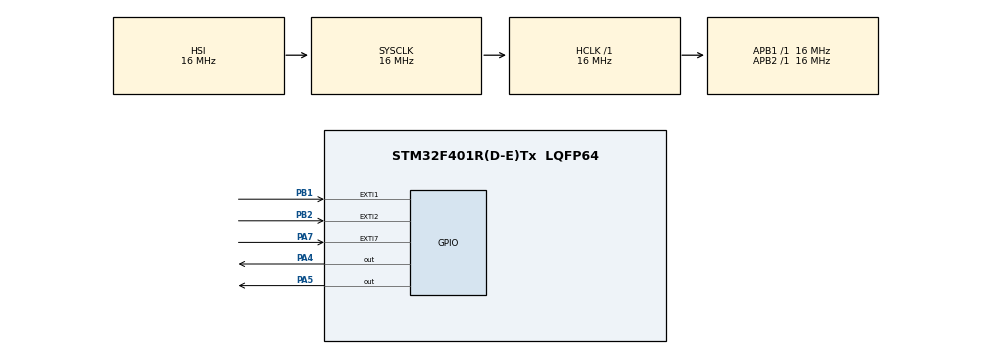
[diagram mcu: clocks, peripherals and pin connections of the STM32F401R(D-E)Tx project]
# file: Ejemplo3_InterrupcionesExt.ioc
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Mcu.Family=STM32F4
Mcu.Name=STM32F401R(D-E)Tx
Mcu.Package=LQFP64
NVIC.EXTI1_IRQn=true\:1\:0\:true\:false\:true\:true\:true\:true
NVIC.EXTI2_IRQn=true\:3\:0\:true\:false\:true\:true\:true\:true
NVIC.EXTI9_5_IRQn=true\:2\:0\:true\:false\:true\:true\:true\:true
NVIC.PriorityGroup=NVIC_PRIORITYGROUP_4
PA4.Signal=GPIO_Output
PA5.Signal=GPIO_Output
PA7.GPIO_ModeDefaultEXTI=GPIO_MODE_IT_FALLING
PA7.GPIO_PuPd=GPIO_PULLUP
PA7.Signal=GPXTI7
PB1.GPIO_ModeDefaultEXTI=GPIO_MODE_IT_FALLING
PB1.GPIO_PuPd=GPIO_PULLUP
PB1.Signal=GPXTI1
PB2.GPIO_ModeDefaultEXTI=GPIO_MODE_IT_FALLING
PB2.GPIO_PuPd=GPIO_PULLUP
PB2.Signal=GPXTI2
ProjectManager.HeapSize=0x200
ProjectManager.StackSize=0x400
ProjectManager.TargetToolchain=STM32CubeIDE
RCC.AHBFreq_Value=16000000
RCC.APB1Freq_Value=16000000
RCC.APB2Freq_Value=16000000
RCC.CortexFreq_Value=16000000
RCC.HSE_VALUE=25000000
RCC.HSI_VALUE=16000000
RCC.LSE_VALUE=32768
RCC.SYSCLKFreq_VALUE=16000000
RCC.VCOOutputFreq_Value=192000000
board=custom

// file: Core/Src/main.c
/* USER CODE BEGIN Header */
/**
  ******************************************************************************
  * @file           : main.c
  * @brief          : Main program body
  ******************************************************************************
  * @attention
  *
  * Copyright (c) 2022 STMicroelectronics.
  * All rights reserved.
  *
  * This software is licensed under terms that can be found in the LICENSE file
  * in the root directory of this software component.
  * If no LICENSE file comes with this software, it is provided AS-IS.
  *
  ******************************************************************************
  */
/* USER CODE END Header */
#include "main.h"

/* USER CODE BEGIN Includes */
#include <stdint.h>
#include <stdbool.h>
/* USER CODE END Includes */

void SystemClock_Config(void);
static void MX_GPIO_Init(void);

/* USER CODE BEGIN 0 */
bool a=false,b=false,c=false;
/* USER CODE END 0 */

int main(void)
{

  /* MCU Configuration--------------------------------------------------------*/

  /* Reset of all peripherals, Initializes the Flash interface and the Systick. */
  HAL_Init();

  /* Configure the system clock */
  SystemClock_Config();

  /* Initialize all configured peripherals */
  MX_GPIO_Init();
  /* USER CODE BEGIN 2 */
uint8_t i;
  /* USER CODE END 2 */

  /* Infinite loop */
  /* USER CODE BEGIN WHILE */
  while (1)
  {

	  if(a){

		  for (i = 0; i < 5; ++i) {
			HAL_GPIO_WritePin(GPIOA, GPIO_PIN_5 | GPIO_PIN_4, GPIO_PIN_SET);
			HAL_Delay(200);
			HAL_GPIO_WritePin(GPIOA, GPIO_PIN_5 | GPIO_PIN_4, GPIO_PIN_RESET);
			HAL_Delay(200);

		  }
		  a=false;
		  HAL_GPIO_WritePin(GPIOA, GPIO_PIN_5 | GPIO_PIN_4, GPIO_PIN_RESET);
	  }
	  if(b){

		  for (i = 0; i < 5; ++i) {
			HAL_GPIO_WritePin(GPIOA, GPIO_PIN_5, GPIO_PIN_SET);
			HAL_GPIO_WritePin(GPIOA, GPIO_PIN_4, GPIO_PIN_RESET);
			HAL_Delay(200);
			HAL_GPIO_WritePin(GPIOA, GPIO_PIN_4, GPIO_PIN_SET);
			HAL_GPIO_WritePin(GPIOA, GPIO_PIN_5, GPIO_PIN_RESET);
			HAL_Delay(200);

		  }
		  b=false;
		  HAL_GPIO_WritePin(GPIOA, GPIO_PIN_5 | GPIO_PIN_4, GPIO_PIN_RESET);
	  }
	  if(c){

		  for (i = 0; i < 5; ++i) {
					HAL_GPIO_WritePin(GPIOA, GPIO_PIN_5, GPIO_PIN_SET);
					HAL_Delay(200);
					HAL_GPIO_WritePin(GPIOA, GPIO_PIN_5, GPIO_PIN_RESET);
					HAL_Delay(200);

				  }
		  c=false;
		  HAL_GPIO_WritePin(GPIOA, GPIO_PIN_5 | GPIO_PIN_4, GPIO_PIN_RESET);
	  }

    /* USER CODE END WHILE */

  }
}

void SystemClock_Config(void)
{
  RCC_OscInitTypeDef RCC_OscInitStruct = {0};
  RCC_ClkInitTypeDef RCC_ClkInitStruct = {0};

  /** Configure the main internal regulator output voltage
  */
  __HAL_RCC_PWR_CLK_ENABLE();
  __HAL_PWR_VOLTAGESCALING_CONFIG(PWR_REGULATOR_VOLTAGE_SCALE2);

  /** Initializes the RCC Oscillators according to the specified parameters
  * in the RCC_OscInitTypeDef structure.
  */
  RCC_OscInitStruct.OscillatorType = RCC_OSCILLATORTYPE_HSI;
  RCC_OscInitStruct.HSIState = RCC_HSI_ON;
  RCC_OscInitStruct.HSICalibrationValue = RCC_HSICALIBRATION_DEFAULT;
  RCC_OscInitStruct.PLL.PLLState = RCC_PLL_NONE;
  if (HAL_RCC_OscConfig(&RCC_OscInitStruct) != HAL_OK)
  {
    Error_Handler();
  }

  /** Initializes the CPU, AHB and APB buses clocks
  */
  RCC_ClkInitStruct.ClockType = RCC_CLOCKTYPE_HCLK|RCC_CLOCKTYPE_SYSCLK
                              |RCC_CLOCKTYPE_PCLK1|RCC_CLOCKTYPE_PCLK2;
  RCC_ClkInitStruct.SYSCLKSource = RCC_SYSCLKSOURCE_HSI;
  RCC_ClkInitStruct.AHBCLKDivider = RCC_SYSCLK_DIV1;
  RCC_ClkInitStruct.APB1CLKDivider = RCC_HCLK_DIV1;
  RCC_ClkInitStruct.APB2CLKDivider = RCC_HCLK_DIV1;

  if (HAL_RCC_ClockConfig(&RCC_ClkInitStruct, FLASH_LATENCY_0) != HAL_OK)
  {
    Error_Handler();
  }
}

static void MX_GPIO_Init(void)
{
  GPIO_InitTypeDef GPIO_InitStruct = {0};

  /* GPIO Ports Clock Enable */
  __HAL_RCC_GPIOA_CLK_ENABLE();
  __HAL_RCC_GPIOB_CLK_ENABLE();

  /*Configure GPIO pin Output Level */
  HAL_GPIO_WritePin(GPIOA, GPIO_PIN_4|GPIO_PIN_5, GPIO_PIN_RESET);

  /*Configure GPIO pins : PA4 PA5 */
  GPIO_InitStruct.Pin = GPIO_PIN_4|GPIO_PIN_5;
  GPIO_InitStruct.Mode = GPIO_MODE_OUTPUT_PP;
  GPIO_InitStruct.Pull = GPIO_NOPULL;
  GPIO_InitStruct.Speed = GPIO_SPEED_FREQ_LOW;
  HAL_GPIO_Init(GPIOA, &GPIO_InitStruct);

  /*Configure GPIO pin : PA7 */
  GPIO_InitStruct.Pin = GPIO_PIN_7;
  GPIO_InitStruct.Mode = GPIO_MODE_IT_FALLING;
  GPIO_InitStruct.Pull = GPIO_PULLUP;
  HAL_GPIO_Init(GPIOA, &GPIO_InitStruct);

  /*Configure GPIO pins : PB1 PB2 */
  GPIO_InitStruct.Pin = GPIO_PIN_1|GPIO_PIN_2;
  GPIO_InitStruct.Mode = GPIO_MODE_IT_FALLING;
  GPIO_InitStruct.Pull = GPIO_PULLUP;
  HAL_GPIO_Init(GPIOB, &GPIO_InitStruct);

  /* EXTI interrupt init*/
  HAL_NVIC_SetPriority(EXTI1_IRQn, 1, 0);
  HAL_NVIC_EnableIRQ(EXTI1_IRQn);

  HAL_NVIC_SetPriority(EXTI2_IRQn, 3, 0);
  HAL_NVIC_EnableIRQ(EXTI2_IRQn);

  HAL_NVIC_SetPriority(EXTI9_5_IRQn, 2, 0);
  HAL_NVIC_EnableIRQ(EXTI9_5_IRQn);

}

/* USER CODE BEGIN 4 */
void HAL_GPIO_EXTI_Callback(uint16_t GPIO_Pin){

	if (GPIO_Pin == GPIO_PIN_1) {
		a = true;
	}
	else{
		__NOP();
	}

	if (GPIO_Pin ==GPIO_PIN_7) {
	b  = true;
	}else{

		__NOP();
	}
	if (GPIO_Pin ==GPIO_PIN_2) {
		c = true;
		}else{

			__NOP();
		}

}

/* USER CODE END 4 */

void Error_Handler(void)
{
  __disable_irq();
  while (1)
  {
  }
}
